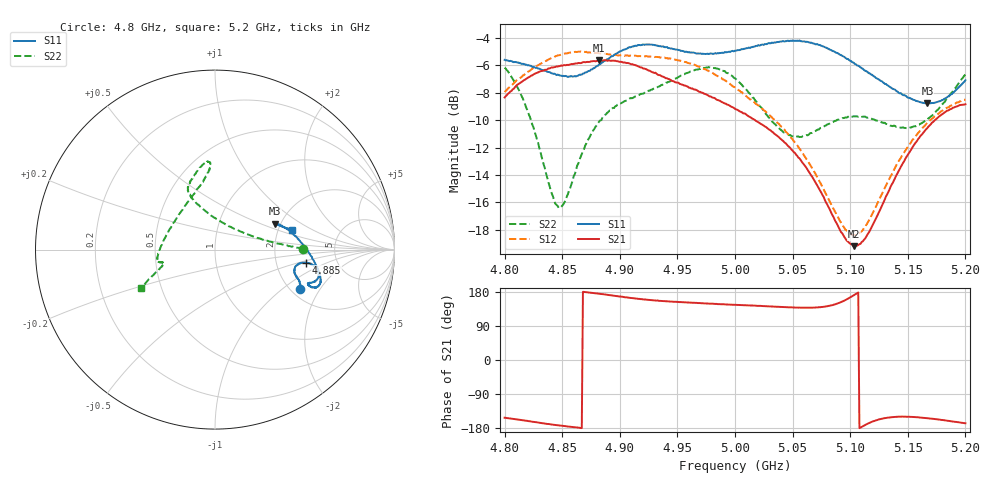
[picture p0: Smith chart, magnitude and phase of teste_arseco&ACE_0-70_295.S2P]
! Network Analyzer HP8722D
! Hewlett-Packard
! Data name: Linha & Wilkinson
! Saver's name: Rodrigo Anjos
! Comments: Teste da utilização de aquisição
! continua pelo VNA HP8722D
! Time and date: 8/5/2025 15:13
!  Frequency  S11  S21  S12  S22
# HZ  S  MA R 50
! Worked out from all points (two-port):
!   401 points, 4.8 GHz to 5.2 GHz, reference 50 ohm
!   highest |S21| = -5.63 dB at 4.882 GHz (marker M1); lowest = -19.2 dB at 5.103 GHz (marker M2)
!   |S21| within 3 dB of the highest: start of sweep to 4.988 GHz
!   lowest |S11| = -8.8 dB at 5.167 GHz (marker M3), VSWR 2.14, Z = 93.4 + j31 ohm
!   |S11| at or under -10 dB: nowhere
!   |S22| runs from -16.4 to -6.1 dB; largest |S21 - S12| = 1.1
!   S11 on the Smith chart (normalised r, x): 4.8 GHz: 2.23, -1.36; 4.885 GHz: 2.98, -0.59; 5.2 GHz: 2.37, +0.65
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4.8e9  0.5241 -25.0  0.3823 -152.3  0.4002 7.1  0.4909 0.5
4.818e9  0.504 -20.8  0.4448 -160.0  0.4686 4.3  0.3583 5.2
4.841e9  0.4679 -17.1  0.492 -170.3  0.5335 0.6  0.1705 37.7
4.846e9  0.4635 -16.3  0.4954 -172.2  0.5441 -0.2  0.1539 55.5
4.853e9  0.4583 -14.4  0.5009 -174.6  0.553 -1.4  0.1617 80.7
4.867e9  0.4629 -10.8  0.5116 -179.6  0.5605 -3.4  0.2379 107.1
4.882e9  0.5042 -8.3  0.523 174.9  0.554 -4.2  0.312 113.9
4.885e9  0.5136 -8.1  0.5204 173.9  0.5525 -4.4  0.3237 114.1
4.909e9  0.5825 -11.3  0.5071 164.0  0.5434 -3.6  0.3799 113.5
4.934e9  0.588 -16.9  0.4612 156.2  0.5364 -4.4  0.4192 107.2
4.975e9  0.5509 -20.1  0.3926 149.2  0.4829 -7.9  0.4918 95.2
5e9  0.5662 -21.0  0.3477 145.3  0.4167 -7.8  0.4491 94.1
5.042e9  0.6131 -19.1  0.2649 139.8  0.2941 0.2  0.2854 129.5
5.067e9  0.6032 -14.2  0.1965 138.1  0.2113 8.4  0.2838 165.3
5.092e9  0.5454 -5.4  0.1236 152.9  0.1339 31.9  0.3194 -174.2
5.103e9  0.5118 0.0  0.1097 170.7  0.1205 52.5  0.3266 -170.2
5.115e9  0.4738 6.2  0.1211 -168.3  0.1333 75.5  0.3224 -167.7
5.134e9  0.419 15.7  0.1762 -151.4  0.1933 94.0  0.3038 -166.5
5.151e9  0.3816 21.7  0.2397 -149.8  0.2566 98.5  0.2956 -165.0
5.167e9  0.3635 23.3  0.2959 -153.5  0.3092 99.1  0.3182 -161.8
5.182e9  0.3786 21.0  0.3373 -159.2  0.3466 99.1  0.3681 -157.7
5.2e9  0.4419 14.5  0.3611 -167.0  0.3765 99.7  0.4638 -152.3
